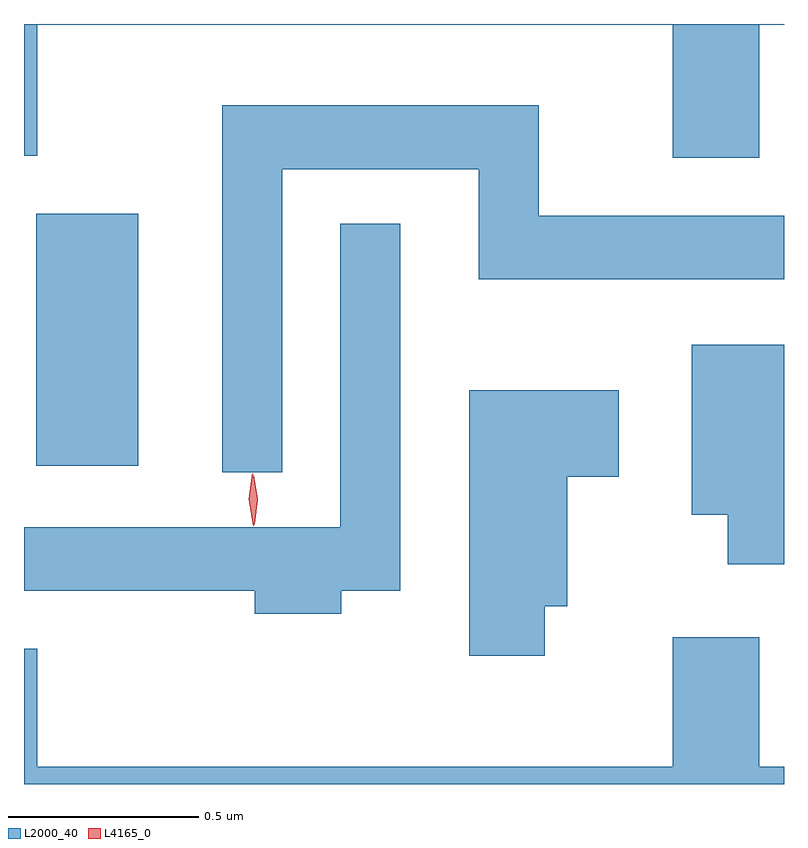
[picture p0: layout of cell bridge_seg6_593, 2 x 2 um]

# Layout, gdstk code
import gdstk
lib = gdstk.Library(unit=1e-6, precision=1e-09)
def R(c, l, rs):  # rectangles x0, y0, x1, y1
    for r in rs: c.add(gdstk.rectangle(r[:2], r[2:], *l))
def P(c, l, *ps):  # polygons
    for p in ps: c.add(gdstk.Polygon(p, *l))
L2000_40 = (2000, 40)
L4165_0 = (4165, 0)

bridge_seg6_593 = lib.new_cell('bridge_seg6_593')
R(bridge_seg6_593, L2000_40, [(501.646,1637.676,501.914,1638.339)])
P(bridge_seg6_593, L2000_40, [(503.549,1638.836),(503.614,1638.836),(503.614,1638.838),(501.614,1638.838),(501.614,1638.491),(501.649,1638.491),(501.649,1638.836),(503.321,1638.836),(503.321,1638.486),(503.549,1638.486)],
  [(502.294,1638.456),(502.811,1638.456),(502.811,1638.166),(503.614,1638.166),(503.614,1638.334),(502.969,1638.334),(502.969,1638.624),(502.136,1638.624),(502.136,1637.658),(502.294,1637.658)],
  [(502.449,1637.346),(502.604,1637.346),(502.604,1638.313),(502.446,1638.313),(502.446,1637.514),(501.614,1637.514),(501.614,1637.346),(502.221,1637.346),(502.221,1637.286),(502.449,1637.286)],
  [(503.614,1637.994),(503.371,1637.994),(503.371,1637.546),(503.466,1637.546),(503.466,1637.416),(503.614,1637.416)],
  [(502.984,1637.306),(503.044,1637.306),(503.044,1637.646),(503.179,1637.646),(503.179,1637.874),(502.786,1637.874),(502.786,1637.176),(502.984,1637.176)],
  [(503.614,1636.884),(503.549,1636.884),(503.549,1637.224),(503.321,1637.224),(503.321,1636.884),(501.649,1636.884),(501.649,1637.194),(501.614,1637.194),(501.614,1636.838),(503.614,1636.838)])
P(bridge_seg6_593, L4165_0, [(502.22,1637.52),(502.22,1637.521),(502.209,1637.586),(502.218,1637.652),(502.218,1637.653),(502.219,1637.652),(502.229,1637.587),(502.221,1637.521)],
  [(502.217,1637.518),(502.217,1637.518),(502.206,1637.587),(502.214,1637.656),(502.215,1637.656),(502.215,1637.656),(502.226,1637.587),(502.218,1637.518)])

lib.write_gds('bridge_seg6_593.gds')
